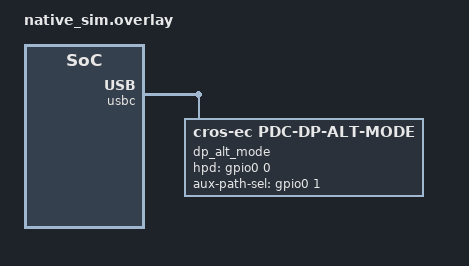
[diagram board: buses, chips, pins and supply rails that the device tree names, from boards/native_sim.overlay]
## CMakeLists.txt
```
# Copyright 2026 The ChromiumOS Authors
# Use of this source code is governed by a BSD-style license that can be
# found in the LICENSE file.

cmake_minimum_required(VERSION 3.13.1)
find_package(Zephyr REQUIRED HINTS "${ZEPHYR_BASE}")
project(pdc_dp_alt_mode)

target_sources(app PRIVATE src/main.c)
```

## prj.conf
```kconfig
# Copyright 2026 The ChromiumOS Authors
# Use of this source code is governed by a BSD-style license that can be
# found in the LICENSE file.

CONFIG_ZTEST=y
CONFIG_GPIO=y
CONFIG_GPIO_EMUL=y
CONFIG_CROS_EC=y
CONFIG_PLATFORM_EC=y
CONFIG_PLATFORM_EC_DEBUG_ASSERT=n
CONFIG_PLATFORM_EC_BACKLIGHT_LID=n
CONFIG_I2C=y
CONFIG_PLATFORM_EC_SWITCH=n
CONFIG_PLATFORM_EC_VBOOT_HASH=n
CONFIG_PLATFORM_EC_TIMER=y
CONFIG_PLATFORM_EC_USBC=y
CONFIG_PLATFORM_EC_USB_CHARGER=n
CONFIG_PLATFORM_EC_USBC_PPC=n
CONFIG_PLATFORM_EC_USBC_SS_MUX=n
CONFIG_PLATFORM_EC_USB_POWER_DELIVERY=n
CONFIG_PLATFORM_EC_USB_PD_CONTROLLER=y
CONFIG_PLATFORM_EC_USB_PD_TCPMV2=n
CONFIG_USBC_PDC_DP_ALT_MODE=y
```

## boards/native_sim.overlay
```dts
/* Copyright 2026 The ChromiumOS Authors
 * Use of this source code is governed by a BSD-style license that can be
 * found in the LICENSE file.
 */

#include <board-overlays/native_sim.dts>
#include <zephyr/dt-bindings/gpio/gpio.h>

/ {
	named-i2c-ports {
		compatible = "named-i2c-ports";
	};

	usbc {
		#address-cells = <1>;
		#size-cells = <0>;

		port0@0 {
			compatible = "named-usbc-port";
			reg = <0>;
		};
		port1@1 {
			compatible = "named-usbc-port";
			reg = <1>;
		};

		dp_alt_mode: dp-alt-mode {
			compatible = "cros-ec,pdc-dp-alt-mode";
			hpd-gpios = <&gpio0 0 GPIO_ACTIVE_HIGH>;
			aux-path-sel-gpios = <&gpio0 1 GPIO_ACTIVE_HIGH>;
		};
	};
};
```

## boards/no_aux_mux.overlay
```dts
/* Copyright 2026 The ChromiumOS Authors
 * Use of this source code is governed by a BSD-style license that can be
 * found in the LICENSE file.
 */

#include "native_sim.overlay"

&dp_alt_mode {
	/delete-property/ aux-path-sel-gpios;
};
```

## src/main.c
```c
/* Copyright 2026 The ChromiumOS Authors
 * Use of this source code is governed by a BSD-style license that can be
 * found in the LICENSE file.
 */

#include "usb_pd.h"
#include "usbc/pdc_power_mgmt.h"

#include <zephyr/device.h>
#include <zephyr/devicetree.h>
#include <zephyr/drivers/gpio.h>
#include <zephyr/drivers/gpio/gpio_emul.h>
#include <zephyr/ztest.h>

#define DP_ALT_MODE_NODE DT_NODELABEL(dp_alt_mode)
#define VDO_DP_HPD(lvl, irq) VDO_DP_STATUS((irq), (lvl), 0, 0, 0, 1, 0, 1)

static const struct device *const dp_dev = DEVICE_DT_GET(DP_ALT_MODE_NODE);
static const struct gpio_dt_spec hpd_gpio =
	GPIO_DT_SPEC_GET(DP_ALT_MODE_NODE, hpd_gpios);
#if DT_NODE_HAS_PROP(DP_ALT_MODE_NODE, aux_path_sel_gpios)
static const struct gpio_dt_spec aux_gpio =
	GPIO_DT_SPEC_GET(DP_ALT_MODE_NODE, aux_path_sel_gpios);
#endif

static pdc_power_mgmt_board_unattached_cb registered_unattach_cb;
static pdc_power_mgmt_board_dp_attention_cb registered_dp_attention_cb;
static int hpd_edge_count;
static struct gpio_callback hpd_gpio_cb;

int pdc_power_mgmt_register_board_callback(enum pdc_power_mgmt_board_cb_t type,
					   const void *callback)
{
	switch (type) {
	case PDC_BOARD_CB_UNATTACH:
		registered_unattach_cb = callback;
		break;
	case PDC_BOARD_CB_DP_ATTENTION:
		registered_dp_attention_cb = callback;
		break;
	default:
		return -EINVAL;
	}

	return 0;
}

uint8_t pdc_power_mgmt_get_usb_pd_port_count(void)
{
	return CONFIG_USB_PD_PORT_MAX_COUNT;
}

int pdc_power_mgmt_get_pch_data_status(int port, uint8_t *status)
{
	ARG_UNUSED(port);
	ARG_UNUSED(status);
	return 0;
}

static void hpd_edge_isr(const struct device *port, struct gpio_callback *cb,
			 gpio_port_pins_t pins)
{
	hpd_edge_count++;
}

static void pdc_dp_alt_mode_before(void *fixture)
{
	ARG_UNUSED(fixture);

	zassert_not_null(registered_unattach_cb);
	zassert_not_null(registered_dp_attention_cb);

	/*
	 * Enable GPIO_INPUT on gpio_emul alongside GPIO_OUTPUT so that
	 * gpio_pin_get_dt() inside the driver reads back the driven output.
	 */
	zassert_ok(gpio_pin_configure_dt(&hpd_gpio,
					 GPIO_OUTPUT_INACTIVE | GPIO_INPUT));

	hpd_edge_count = 0;
}

static void pdc_dp_alt_mode_after(void *fixture)
{
	ARG_UNUSED(fixture);

	for (int i = 0; i < CONFIG_USB_PD_PORT_MAX_COUNT; i++) {
		registered_unattach_cb(i);
	}
#if DT_NODE_HAS_PROP(DP_ALT_MODE_NODE, aux_path_sel_gpios)
	zassert_ok(gpio_pin_set_dt(&aux_gpio, 1));
#endif
}

ZTEST(pdc_dp_alt_mode, test_init)
{
	zassert_true(device_is_ready(dp_dev));
	zassert_not_null(registered_unattach_cb);
	zassert_not_null(registered_dp_attention_cb);
	zassert_equal(gpio_emul_output_get(hpd_gpio.port, hpd_gpio.pin), 0);
#if DT_NODE_HAS_PROP(DP_ALT_MODE_NODE, aux_path_sel_gpios)
	zassert_equal(gpio_emul_output_get(aux_gpio.port, aux_gpio.pin), 1);
#endif
}

ZTEST(pdc_dp_alt_mode, test_dp_attention_hpd_level)
{
	/* Port 0 asserts HPD level */
	registered_dp_attention_cb(0, VDO_DP_HPD(1, 0));
	zassert_equal(gpio_emul_output_get(hpd_gpio.port, hpd_gpio.pin), 1);
#if DT_NODE_HAS_PROP(DP_ALT_MODE_NODE, aux_path_sel_gpios)
	zassert_equal(gpio_emul_output_get(aux_gpio.port, aux_gpio.pin), 0);
#endif

	/* Port 0 deasserts HPD level */
	registered_dp_attention_cb(0, VDO_DP_HPD(0, 0));
	zassert_equal(gpio_emul_output_get(hpd_gpio.port, hpd_gpio.pin), 0);
}

ZTEST(pdc_dp_alt_mode, test_fcfs_arbitration_and_unattach)
{
	/* Port 0 claims DP first */
	registered_dp_attention_cb(0, VDO_DP_HPD(1, 0));
	zassert_equal(gpio_emul_output_get(hpd_gpio.port, hpd_gpio.pin), 1);
#if DT_NODE_HAS_PROP(DP_ALT_MODE_NODE, aux_path_sel_gpios)
	zassert_equal(gpio_emul_output_get(aux_gpio.port, aux_gpio.pin), 0);
#endif

	/* Port 1 DP attention is ignored while Port 0 is active */
	registered_dp_attention_cb(1, VDO_DP_HPD(1, 0));
	zassert_equal(gpio_emul_output_get(hpd_gpio.port, hpd_gpio.pin), 1);
#if DT_NODE_HAS_PROP(DP_ALT_MODE_NODE, aux_path_sel_gpios)
	zassert_equal(gpio_emul_output_get(aux_gpio.port, aux_gpio.pin), 0);
#endif

	/* Unattaching inactive Port 1 keeps Port 0 active */
	registered_unattach_cb(1);
	zassert_equal(gpio_emul_output_get(hpd_gpio.port, hpd_gpio.pin), 1);

	/* Unattaching active Port 0 deasserts HPD and frees the mux */
	registered_unattach_cb(0);
	zassert_equal(gpio_emul_output_get(hpd_gpio.port, hpd_gpio.pin), 0);

	/* Port 1 can now claim DP */
	registered_dp_attention_cb(1, VDO_DP_HPD(1, 0));
	zassert_equal(gpio_emul_output_get(hpd_gpio.port, hpd_gpio.pin), 1);
#if DT_NODE_HAS_PROP(DP_ALT_MODE_NODE, aux_path_sel_gpios)
	zassert_equal(gpio_emul_output_get(aux_gpio.port, aux_gpio.pin), 1);
#endif
}

ZTEST(pdc_dp_alt_mode, test_hpd_irq_pulse)
{
	gpio_init_callback(&hpd_gpio_cb, hpd_edge_isr, BIT(hpd_gpio.pin));
	zassert_ok(gpio_add_callback(hpd_gpio.port, &hpd_gpio_cb));
	zassert_ok(
		gpio_pin_interrupt_configure_dt(&hpd_gpio, GPIO_INT_EDGE_BOTH));

	/* Assert HPD high (1 rising edge) */
	registered_dp_attention_cb(0, VDO_DP_HPD(1, 0));
	zassert_equal(hpd_edge_count, 1);
	zassert_equal(gpio_emul_output_get(hpd_gpio.port, hpd_gpio.pin), 1);

	/* Trigger IRQ_HPD while high: should pulse low then high (+2 edges) */
	registered_dp_attention_cb(0, VDO_DP_HPD(1, 1));
	zassert_equal(hpd_edge_count, 3);
	zassert_equal(gpio_emul_output_get(hpd_gpio.port, hpd_gpio.pin), 1);

	/* Second immediate IRQ_HPD waits for debounce deadline and pulses */
	registered_dp_attention_cb(0, VDO_DP_HPD(1, 1));
	zassert_equal(hpd_edge_count, 5);
	zassert_equal(gpio_emul_output_get(hpd_gpio.port, hpd_gpio.pin), 1);

	zassert_ok(
		gpio_pin_interrupt_configure_dt(&hpd_gpio, GPIO_INT_DISABLE));
	zassert_ok(gpio_remove_callback(hpd_gpio.port, &hpd_gpio_cb));
}

ZTEST(pdc_dp_alt_mode, test_hpd_irq_with_low_lvl_ignored)
{
	/* IRQ=1 with LVL=0 is invalid and must not assert HPD */
	registered_dp_attention_cb(0, VDO_DP_HPD(0, 1));
	zassert_equal(gpio_emul_output_get(hpd_gpio.port, hpd_gpio.pin), 0);
}

ZTEST_SUITE(pdc_dp_alt_mode, NULL, NULL, pdc_dp_alt_mode_before,
	    pdc_dp_alt_mode_after, NULL);
```
